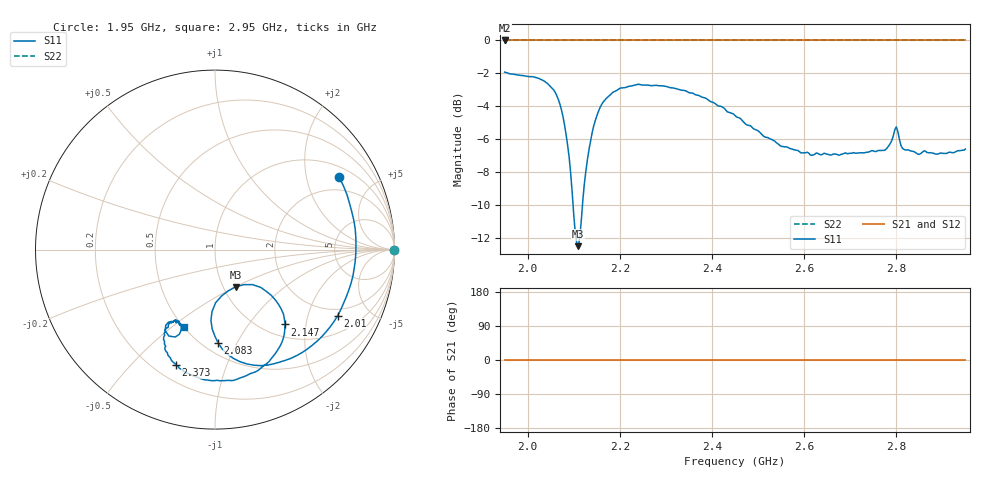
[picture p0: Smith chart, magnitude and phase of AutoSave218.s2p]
!Agilent N9923A: A.07.32
!Date: Thursday, 02 June 2016 03:32:18
!Model: N9923A
!Serial: MY52412257
!GPS Latitude:
!GPS Longitude:
!GPS TimeStamp: 0001-01-01 00:00:00Z
!GPS Seconds Since Last Read: 0
!CHECKSUM:0909678926
!Correction: S11(ON U)S21()S12()S22()
!S2P File: Measurements:S11,S21,S12,S22:
# Hz S DB R 50
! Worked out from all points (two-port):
!   301 points, 1.95 GHz to 2.95 GHz, reference 50 ohm
!   highest |S21| = 0.00 dB at 1.95 GHz (marker M1); lowest = 0.0 dB at 1.95 GHz (marker M2)
!   |S21| within 3 dB of the highest: start of sweep to end of sweep
!   lowest |S11| = -12.5 dB at 2.11 GHz (marker M3), VSWR 1.62, Z = 57 - j25.1 ohm
!   |S11| at or under -10 dB: 2.099 GHz to 2.119 GHz (20.41 MHz wide, 0.968 % of centre)
!   |S22| runs from 0.0 to 0.0 dB; largest |S21 - S12| = 0
!   S11 on the Smith chart (normalised r, x): 1.95 GHz: 1.40, +3.14; 2.01 GHz: 1.69, -3.12; 2.083 GHz: 0.59, -0.84; 2.147 GHz: 1.23, -1.52; 2.373 GHz: 0.28, -0.68; 2.95 GHz: 0.50, -0.55
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1.95e9  -1.93 30.1  0.00 0.0  0.00 0.0  0.00 0.0
1.976667e9  -2.09 1.9  0.00 0.0  0.00 0.0  0.00 0.0
2.01e9  -2.20 -28.3  0.00 0.0  0.00 0.0  0.00 0.0
2.036667e9  -2.48 -49.8  0.00 0.0  0.00 0.0  0.00 0.0
2.056667e9  -3.01 -65.5  0.00 0.0  0.00 0.0  0.00 0.0
2.07e9  -3.87 -77.4  0.00 0.0  0.00 0.0  0.00 0.0
2.083333e9  -5.71 -88.2  0.00 0.0  0.00 0.0  0.00 0.0
2.096667e9  -9.24 -92.7  0.00 0.0  0.00 0.0  0.00 0.0
2.103333e9  -11.70 -81.7  0.00 0.0  0.00 0.0  0.00 0.0
2.11e9  -12.50 -61.2  0.00 0.0  0.00 0.0  0.00 0.0
2.12e9  -9.62 -39.6  0.00 0.0  0.00 0.0  0.00 0.0
2.146667e9  -4.88 -47.0  0.00 0.0  0.00 0.0  0.00 0.0
2.17e9  -3.54 -59.0  0.00 0.0  0.00 0.0  0.00 0.0
2.203333e9  -2.88 -71.8  0.00 0.0  0.00 0.0  0.00 0.0
2.286667e9  -2.76 -93.1  0.00 0.0  0.00 0.0  0.00 0.0
2.373333e9  -3.37 -108.7  0.00 0.0  0.00 0.0  0.00 0.0
2.453333e9  -4.65 -118.6  0.00 0.0  0.00 0.0  0.00 0.0
2.62e9  -6.96 -118.2  0.00 0.0  0.00 0.0  0.00 0.0
2.783333e9  -6.42 -113.1  0.00 0.0  0.00 0.0  0.00 0.0
2.803333e9  -5.53 -121.7  0.00 0.0  0.00 0.0  0.00 0.0
2.846667e9  -6.91 -119.2  0.00 0.0  0.00 0.0  0.00 0.0
2.95e9  -6.60 -112.0  0.00 0.0  0.00 0.0  0.00 0.0
